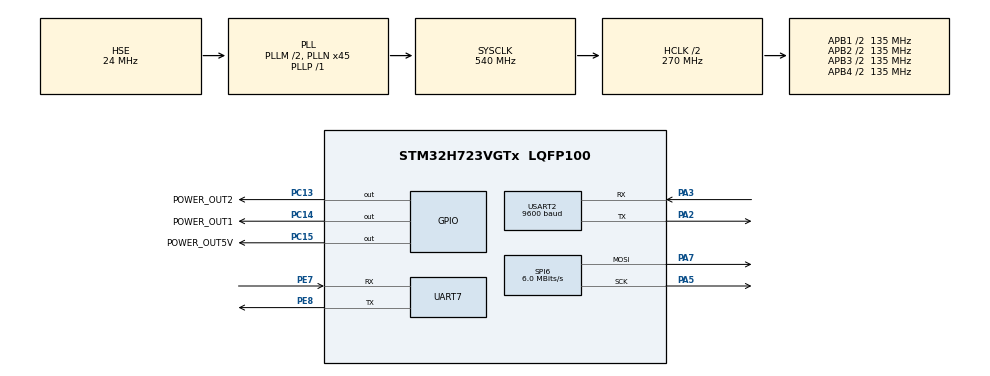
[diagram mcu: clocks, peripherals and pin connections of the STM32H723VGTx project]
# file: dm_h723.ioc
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FREERTOS.Tasks01=defaultTask,24,128,StartDefaultTask,Default,NULL,Dynamic,NULL,NULL
FREERTOS.configENABLE_FPU=1
Mcu.Family=STM32H7
Mcu.Name=STM32H723VGTx
Mcu.Package=LQFP100
NVIC.PriorityGroup=NVIC_PRIORITYGROUP_4
NVIC.TIM1_UP_IRQn=true\:15\:0\:false\:false\:true\:false\:false\:true\:true
NVIC.TIM2_IRQn=true\:5\:0\:false\:false\:true\:true\:true\:true\:true
NVIC.TimeBase=TIM1_UP_IRQn
NVIC.TimeBaseIP=TIM1
NVIC.USART2_IRQn=true\:5\:0\:false\:false\:true\:true\:true\:true\:true
PA10.Signal=USART1_RX
PA13(JTMS/SWDIO).Mode=Serial_Wire
PA13(JTMS/SWDIO).Signal=DEBUG_JTMS-SWDIO
PA14(JTCK/SWCLK).Mode=Serial_Wire
PA14(JTCK/SWCLK).Signal=DEBUG_JTCK-SWCLK
PA2.Mode=Asynchronous
PA2.Signal=USART2_TX
PA3.Mode=Asynchronous
PA3.Signal=USART2_RX
PA5.GPIO_Speed=GPIO_SPEED_FREQ_VERY_HIGH
PA5.Mode=TX_Only_Simplex_Unidirect_Master
PA5.Signal=SPI6_SCK
PA7.GPIO_Speed=GPIO_SPEED_FREQ_VERY_HIGH
PA7.Mode=TX_Only_Simplex_Unidirect_Master
PA7.Signal=SPI6_MOSI
PA9.Signal=USART1_TX
PC13.GPIO_Label=POWER_OUT2
PC13.PinState=GPIO_PIN_SET
PC13.Signal=GPIO_Output
PC14-OSC32_IN.GPIO_Label=POWER_OUT1
PC14-OSC32_IN.PinState=GPIO_PIN_SET
PC14-OSC32_IN.Signal=GPIO_Output
PC15-OSC32_OUT.GPIO_Label=POWER_OUT5V
PC15-OSC32_OUT.PinState=GPIO_PIN_SET
PC15-OSC32_OUT.Signal=GPIO_Output
PE7.Mode=Asynchronous
PE7.Signal=UART7_RX
PE8.Mode=Asynchronous
PE8.Signal=UART7_TX
PH0-OSC_IN.Mode=HSE-External-Oscillator
PH0-OSC_IN.Signal=RCC_OSC_IN
PH1-OSC_OUT.Mode=HSE-External-Oscillator
PH1-OSC_OUT.Signal=RCC_OSC_OUT
ProjectManager.HeapSize=0x200
ProjectManager.StackSize=0x800
ProjectManager.TargetToolchain=Makefile
RCC.ADCFreq_Value=48375000
RCC.APB1Freq_Value=135000000
RCC.APB2Freq_Value=135000000
RCC.APB3Freq_Value=135000000
RCC.APB4Freq_Value=135000000
RCC.CortexFreq_Value=540000000
RCC.D1PPRE=RCC_APB3_DIV2
RCC.D2PPRE1=RCC_APB1_DIV2
RCC.D2PPRE2=RCC_APB2_DIV2
RCC.D3PPRE=RCC_APB4_DIV2
RCC.DIVM1=2
RCC.DIVN1=45
RCC.DIVP1=1
RCC.HCLKFreq_Value=270000000
RCC.HPRE=RCC_HCLK_DIV2
RCC.HSE_VALUE=24000000
RCC.PLL2FRACN=0
RCC.PLL3FRACN=0
RCC.PLLFRACN=0
RCC.PLLSourceVirtual=RCC_PLLSOURCE_HSE
RCC.SPI6CLockSelection=RCC_SPI6CLKSOURCE_HSE
RCC.SYSCLKFreq_VALUE=540000000
RCC.SYSCLKSource=RCC_SYSCLKSOURCE_PLLCLK
RCC.USBFreq_Value=270000000
SPI6.BaudRatePrescaler=SPI_BAUDRATEPRESCALER_4
SPI6.CLKPhase=SPI_PHASE_2EDGE
SPI6.CLKPolarity=SPI_POLARITY_LOW
SPI6.CalculateBaudRate=6.0 MBits/s
SPI6.DataSize=SPI_DATASIZE_8BIT
SPI6.Direction=SPI_DIRECTION_2LINES_TXONLY
SPI6.Mode=SPI_MODE_MASTER
SPI6.VirtualType=VM_MASTER
TIM2.Period=49
TIM2.Prescaler=13499
USART2.BaudRate=9600
USART2.VirtualMode-Asynchronous=VM_ASYNC
VP_FREERTOS_VS_CMSIS_V2.Mode=CMSIS_V2
VP_SYS_VS_tim1.Mode=TIM1
VP_TIM2_VS_ClockSourceINT.Mode=Internal
board=custom

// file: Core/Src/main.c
/* USER CODE BEGIN Header */
/**
  ******************************************************************************
  * @file           : main.c
  * @brief          : Main program body
  ******************************************************************************
  * @attention
  *
  * Copyright (c) 2024 STMicroelectronics.
  * All rights reserved.
  *
  * This software is licensed under terms that can be found in the LICENSE file
  * in the root directory of this software component.
  * If no LICENSE file comes with this software, it is provided AS-IS.
  *
  ******************************************************************************
  */
/* USER CODE END Header */
#include "main.h"
#include "cmsis_os.h"
#include "spi.h"
#include "tim.h"
#include "usart.h"
#include "gpio.h"

/* USER CODE BEGIN Includes */
#include "ws2812.h"
#include "vofa.h"
#include "user_mb_app.h"

/* USER CODE END Includes */

void SystemClock_Config(void);
void MX_FREERTOS_Init(void);

int main(void)
{

  /* MCU Configuration--------------------------------------------------------*/

  /* Reset of all peripherals, Initializes the Flash interface and the Systick. */
  HAL_Init();

  /* Configure the system clock */
  SystemClock_Config();

  /* Initialize all configured peripherals */
  MX_GPIO_Init();
  MX_SPI6_Init();
  MX_UART7_Init();
  MX_USART2_UART_Init();
  MX_TIM2_Init();
  /* USER CODE BEGIN 2 */
    // WS2812_Ctrl(10,0,0);
    // HAL_Delay(800);
    // WS2812_Ctrl(0,10,0);
  /* USER CODE END 2 */

  /* Init scheduler */
  osKernelInitialize();

  /* Call init function for freertos objects (in freertos.c) */
  MX_FREERTOS_Init();

  /* Start scheduler */
  osKernelStart();

  /* We should never get here as control is now taken by the scheduler */
  /* Infinite loop */
  while (1)
  {

    /* USER CODE BEGIN 3 */
    //   vofa_start();

      HAL_Delay(1);

  }
  /* USER CODE END 3 */
}

void SystemClock_Config(void)
{
  RCC_OscInitTypeDef RCC_OscInitStruct = {0};
  RCC_ClkInitTypeDef RCC_ClkInitStruct = {0};

  /** Supply configuration update enable
  */
  HAL_PWREx_ConfigSupply(PWR_LDO_SUPPLY);

  /** Configure the main internal regulator output voltage
  */
  __HAL_PWR_VOLTAGESCALING_CONFIG(PWR_REGULATOR_VOLTAGE_SCALE0);

  while(!__HAL_PWR_GET_FLAG(PWR_FLAG_VOSRDY)) {}

  /** Initializes the RCC Oscillators according to the specified parameters
  * in the RCC_OscInitTypeDef structure.
  */
  RCC_OscInitStruct.OscillatorType = RCC_OSCILLATORTYPE_HSE;
  RCC_OscInitStruct.HSEState = RCC_HSE_ON;
  RCC_OscInitStruct.PLL.PLLState = RCC_PLL_ON;
  RCC_OscInitStruct.PLL.PLLSource = RCC_PLLSOURCE_HSE;
  RCC_OscInitStruct.PLL.PLLM = 2;
  RCC_OscInitStruct.PLL.PLLN = 45;
  RCC_OscInitStruct.PLL.PLLP = 1;
  RCC_OscInitStruct.PLL.PLLQ = 2;
  RCC_OscInitStruct.PLL.PLLR = 2;
  RCC_OscInitStruct.PLL.PLLRGE = RCC_PLL1VCIRANGE_3;
  RCC_OscInitStruct.PLL.PLLVCOSEL = RCC_PLL1VCOWIDE;
  RCC_OscInitStruct.PLL.PLLFRACN = 0;
  if (HAL_RCC_OscConfig(&RCC_OscInitStruct) != HAL_OK)
  {
    Error_Handler();
  }

  /** Initializes the CPU, AHB and APB buses clocks
  */
  RCC_ClkInitStruct.ClockType = RCC_CLOCKTYPE_HCLK|RCC_CLOCKTYPE_SYSCLK
                              |RCC_CLOCKTYPE_PCLK1|RCC_CLOCKTYPE_PCLK2
                              |RCC_CLOCKTYPE_D3PCLK1|RCC_CLOCKTYPE_D1PCLK1;
  RCC_ClkInitStruct.SYSCLKSource = RCC_SYSCLKSOURCE_PLLCLK;
  RCC_ClkInitStruct.SYSCLKDivider = RCC_SYSCLK_DIV1;
  RCC_ClkInitStruct.AHBCLKDivider = RCC_HCLK_DIV2;
  RCC_ClkInitStruct.APB3CLKDivider = RCC_APB3_DIV2;
  RCC_ClkInitStruct.APB1CLKDivider = RCC_APB1_DIV2;
  RCC_ClkInitStruct.APB2CLKDivider = RCC_APB2_DIV2;
  RCC_ClkInitStruct.APB4CLKDivider = RCC_APB4_DIV2;

  if (HAL_RCC_ClockConfig(&RCC_ClkInitStruct, FLASH_LATENCY_3) != HAL_OK)
  {
    Error_Handler();
  }
}

void HAL_TIM_PeriodElapsedCallback(TIM_HandleTypeDef *htim)
{
  if (htim->Instance == TIM1) {
    HAL_IncTick();
  }
  /* USER CODE BEGIN Callback 1 */
    if(htim->Instance == MODBUS_TIMER.Instance)
    {
    prvvTIMERExpiredISR();
    }
  /* USER CODE END Callback 1 */
}

void Error_Handler(void)
{
  __disable_irq();
  while (1)
  {
  }
}

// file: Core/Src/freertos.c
/* USER CODE BEGIN Header */
/**
  ******************************************************************************
  * File Name          : freertos.c
  * Description        : Code for freertos applications
  ******************************************************************************
  * @attention
  *
  * Copyright (c) 2024 STMicroelectronics.
  * All rights reserved.
  *
  * This software is licensed under terms that can be found in the LICENSE file
  * in the root directory of this software component.
  * If no LICENSE file comes with this software, it is provided AS-IS.
  *
  ******************************************************************************
  */
/* USER CODE END Header */

#include "FreeRTOS.h"
#include "task.h"
#include "main.h"
#include "cmsis_os.h"

/* USER CODE BEGIN Includes */
#include "user_mb_app.h"
#include "ws2812.h"
// #include "mb.h"
/* USER CODE END Includes */

/* USER CODE BEGIN PTD */
#define BYTE_TO_HW(A, B) ((((uint16_t)(A)) << 8) | (uint8_t)(B))
/* USER CODE END PTD */

/* Definitions for defaultTask */
osThreadId_t defaultTaskHandle;
const osThreadAttr_t defaultTask_attributes = {
  .name = "defaultTask",
  .stack_size = 128 * 4,
  .priority = (osPriority_t) osPriorityNormal,
};

/* USER CODE BEGIN FunctionPrototypes */
osThreadId_t clientTaskHandle;
const osThreadAttr_t clientTask_attributes = {
  .name = "clientTask",
  .stack_size = 128 * 4,
  .priority = (osPriority_t) osPriorityNormal,
};
/* USER CODE END FunctionPrototypes */

void StartDefaultTask(void *argument);
void StartClientTask(void *argument);
void MX_FREERTOS_Init(void); /* (MISRA C 2004 rule 8.1) */

void MX_FREERTOS_Init(void) {

  /* Create the thread(s) */
  /* creation of defaultTask */
  defaultTaskHandle = osThreadNew(StartDefaultTask, NULL, &defaultTask_attributes);

  /* USER CODE BEGIN RTOS_THREADS */
  /* add threads, ... */
    defaultTaskHandle = osThreadNew(StartClientTask, NULL, &clientTask_attributes);

  /* USER CODE END RTOS_THREADS */

}

void StartDefaultTask(void *argument)
{
  /* USER CODE BEGIN StartDefaultTask */
    if(eMBMasterInit(MB_RTU, 1, 9600, MB_PAR_NONE)!=MB_ENOERR)
        WS2812_Ctrl(10,0,0);
    configASSERT( eMBMasterEnable()==MB_ENOERR)

  /* Infinite loop */
  for(;;)
  {
    if(eMBMasterPoll()!=MB_ENOERR)
        WS2812_Ctrl(10,0,0);
    osDelay(1);
  }
  /* USER CODE END StartDefaultTask */
}

/* USER CODE BEGIN Application */
void StartClientTask(void *argument)
{
  /* USER CODE BEGIN StartDefaultTask */
    WS2812_Ctrl(0,0,10);
    vTaskDelay(2000/portTICK_PERIOD_MS);
  /* Infinite loop */
  for(;;)
  {
    uint16_t val;
    if(eMBMasterIsEstablished()==TRUE)
    {
        if(eMBMasterReqReadHoldingRegister(1, 0x0000, 2, 100)==MB_ENOERR)
        {
            val = BYTE_TO_HW(usMRegHoldBuf[0], usMRegHoldBuf[1]);
            WS2812_Ctrl(0,10,0);
        }
    else
        WS2812_Ctrl(10,0,0);
    }
    else
        WS2812_Ctrl(10,0,0);
    vTaskDelay(200/portTICK_PERIOD_MS);
  }
  /* USER CODE END StartDefaultTask */
}
/* USER CODE END Application */
